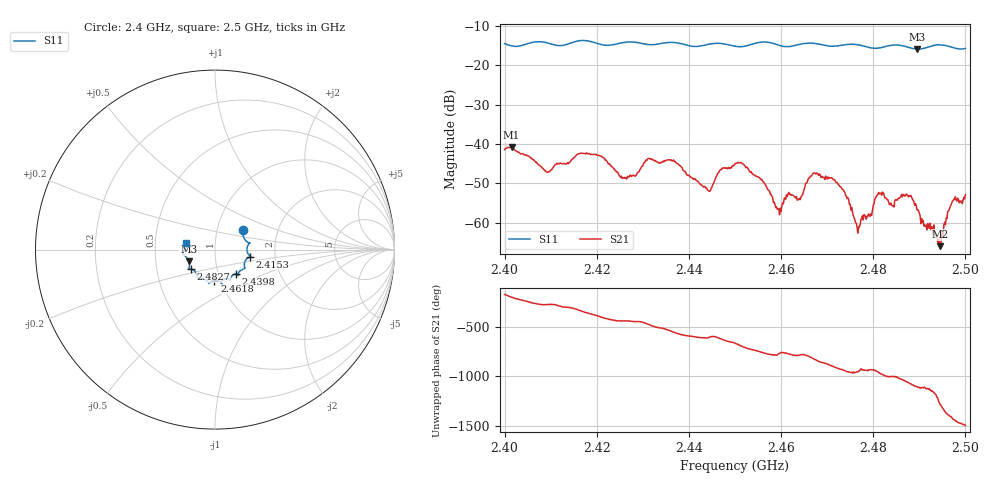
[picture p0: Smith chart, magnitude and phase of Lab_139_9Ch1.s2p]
# Hz S RI R 50
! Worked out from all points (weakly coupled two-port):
!   601 points, 2.4 GHz to 2.5 GHz, reference 50 ohm
!   highest |S21| = -40.87 dB at 2.4015 GHz (marker M1); lowest = -66.0 dB at 2.4945 GHz (marker M2)
!   lowest |S11| = -15.9 dB at 2.4895 GHz (marker M3), VSWR 1.38, Z = 37 - j5.01 ohm
!   |S11| at or under -10 dB: start of sweep to end of sweep
!   S12 and S22 are empty: the file has one direction only
!   S11 on the Smith chart (normalised r, x): 2.4 GHz: 1.33, +0.29; 2.4153 GHz: 1.48, -0.12; 2.4398 GHz: 1.21, -0.34; 2.4618 GHz: 0.94, -0.33; 2.4827 GHz: 0.75, -0.17; 2.5 GHz: 0.72, +0.06
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2.4e9  0.1554 0.1066  -0.00843 -0.000389  0 0  0 0
2.4015e9  0.1563 0.0824  -0.0083 0.00361  0 0  0 0
2.409167e9  0.1902 0.0333  0.000654 0.00433  0 0  0 0
2.415333e9  0.1964 -0.0391  0.00542 0.00434  0 0  0 0
2.416667e9  0.2021 -0.043  0.00733 0.0022  0 0  0 0
2.426e9  0.1672 -0.1015  0.000493 -0.00372  0 0  0 0
2.433333e9  0.1296 -0.1342  -0.00506 -0.00289  0 0  0 0
2.439833e9  0.1152 -0.1357  -0.00236 0.0032  0 0  0 0
2.4445e9  0.0843 -0.1661  -0.00092 0.00231  0 0  0 0
2.45e9  0.0651 -0.1623  0.00342 0.00444  0 0  0 0
2.4595e9  0.0262 -0.1782  0.000935 -0.00117  0 0  0 0
2.461833e9  -0.00332 -0.1729  0.00118 -0.00195  0 0  0 0
2.464e9  -0.028 -0.1826  0.000857 -0.00184  0 0  0 0
2.466667e9  -0.035 -0.1882  -0.000122 -0.00396  0 0  0 0
2.472e9  -0.0706 -0.1608  -0.00313 0.000846  0 0  0 0
2.476667e9  -0.0963 -0.1548  -0.000425 0.000596  0 0  0 0
2.482667e9  -0.1348 -0.1084  0.000209 0.00205  0 0  0 0
2.483333e9  -0.1399 -0.1081  0.000413 0.00178  0 0  0 0
2.4895e9  -0.1459 -0.066  0.00131 -0.0006  0 0  0 0
2.4945e9  -0.1807 -0.021  -0.000464 0.000187  0 0  0 0
2.497333e9  -0.1677 -0.0034  0.00188 0.00031  0 0  0 0
2.5e9  -0.1591 0.0389  0.00133 -0.00183  0 0  0 0
